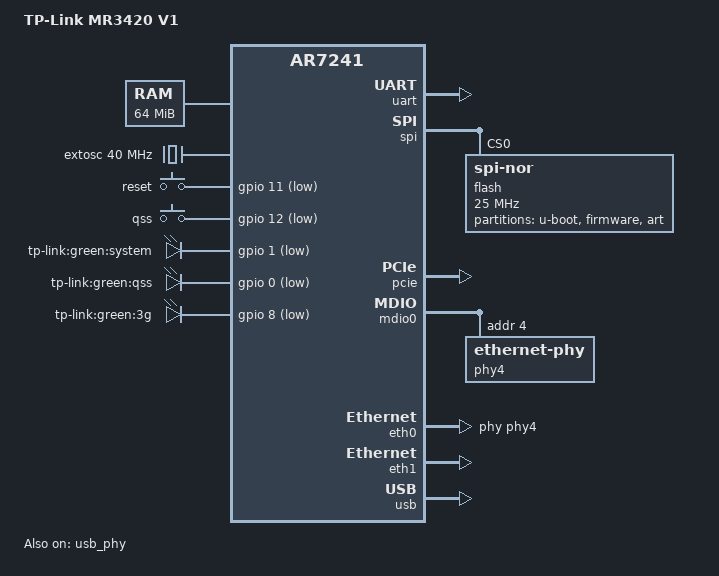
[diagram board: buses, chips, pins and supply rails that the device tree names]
// SPDX-License-Identifier: GPL-2.0-or-later OR MIT
/dts-v1/;

#include <dt-bindings/gpio/gpio.h>
#include <dt-bindings/input/input.h>

#include "ar7241.dtsi"

/ {
	compatible = "tplink,tl-mr3420-v1", "qca,ar7241";
	model = "TP-Link MR3420 V1";

	memory@0 {
		device_type = "memory";
		reg = <0x0 0x4000000>;
	};

	extosc: ref {
		compatible = "fixed-clock";
		#clock-cells = <0>;
		clock-frequency = <40000000>;
	};

	keys {
		compatible = "gpio-keys-polled";
		#address-cells = <1>;
		#size-cells = <0>;

		poll-interval = <20>;

		button@0 {
			label = "reset";
			linux,code = <KEY_RESTART>;
			gpios = <&gpio 11 GPIO_ACTIVE_LOW>;
			debounce-interval = <60>;
		};

		button@1 {
			label = "qss";
			gpios = <&gpio 12 GPIO_ACTIVE_LOW>;
			debounce-interval = <60>;
		};
	};

	leds {
		compatible = "gpio-leds";

		led@0 {
			label = "tp-link:green:system";
			gpios = <&gpio 1 GPIO_ACTIVE_LOW>;
		};

		led@1 {
			label = "tp-link:green:qss";
			gpios = <&gpio 0 GPIO_ACTIVE_LOW>;
		};

		led@2 {
			label = "tp-link:green:3g";
			gpios = <&gpio 8 GPIO_ACTIVE_LOW>;
		};
	};
};

&uart {
	status = "okay";
};

&pll {
	clocks = <&extosc>;
};

&spi {
	status = "okay";
	num-cs = <1>;

	flash@0 {
		#address-cells = <1>;
		#size-cells = <1>;
		compatible = "jedec,spi-nor";
		reg = <0>;
		spi-max-frequency = <25000000>;

		partitions {
			compatible = "fixed-partitions";
			#address-cells = <1>;
			#size-cells = <1>;

			uboot: partition@0 {
				label = "u-boot";
				reg = <0x000000 0x020000>;
				read-only;
			};

			partition@20000 {
				label = "firmware";
				reg = <0x020000 0x3d0000>;
			};

			art: partition@3f0000 {
				label = "art";
				reg = <0x3f0000 0x010000>;
				read-only;
			};
		};
	};
};

&pcie {
	status = "okay";

	ath9k@0000 {
		reg = <0x0000 0 0 0 0>;
		qca,no-eeprom;
		mtd-mac-address = <&uboot 0x1fc00>;
	};
};

&mdio0 {
	status = "okay";

	phy4: ethernet-phy@4 {
		reg = <4>;
		phy-mode = "mii";
	};
};

&eth0 {
	status = "okay";

	mtd-mac-address = <&uboot 0x1fc00>;
	mtd-mac-address-increment = <1>;
	phy-handle = <&phy4>;
};

&eth1 {
	status = "okay";

	compatible = "syscon";
};

&usb_phy {
	status = "okay";
};

&usb {
	status = "okay";
};
